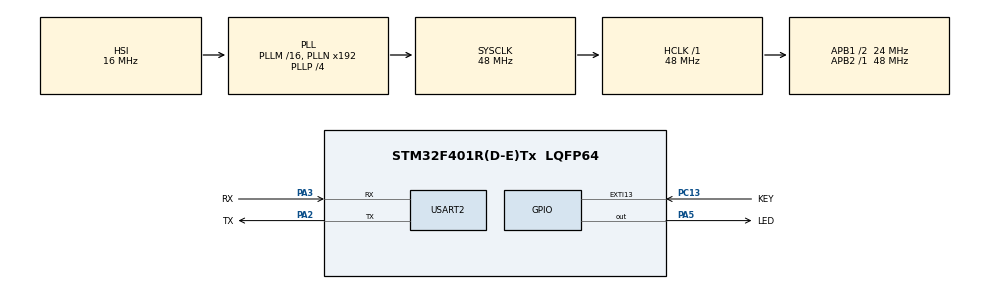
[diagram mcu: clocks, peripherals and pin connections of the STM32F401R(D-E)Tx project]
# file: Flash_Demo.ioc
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Mcu.Family=STM32F4
Mcu.Name=STM32F401R(D-E)Tx
Mcu.Package=LQFP64
NVIC.EXTI15_10_IRQn=true\:2\:0\:true\:false\:true\:true
NVIC.PriorityGroup=NVIC_PRIORITYGROUP_4
PA2.GPIO_Label=TX
PA2.Mode=Asynchronous
PA2.Signal=USART2_TX
PA3.GPIO_Label=RX
PA3.Mode=Asynchronous
PA3.Signal=USART2_RX
PA5.GPIO_Label=LED
PA5.Signal=GPIO_Output
PC13-ANTI_TAMP.GPIO_Label=KEY
PC13-ANTI_TAMP.Signal=GPXTI13
ProjectManager.HeapSize=0x200
ProjectManager.StackSize=0x400
ProjectManager.TargetToolchain=MDK-ARM V5
RCC.AHBFreq_Value=48000000
RCC.APB1CLKDivider=RCC_HCLK_DIV2
RCC.APB1Freq_Value=24000000
RCC.APB1TimFreq_Value=48000000
RCC.APB2Freq_Value=48000000
RCC.APB2TimFreq_Value=48000000
RCC.CortexFreq_Value=48000000
RCC.HCLKFreq_Value=48000000
RCC.HSE_VALUE=25000000
RCC.HSI_VALUE=16000000
RCC.LSE_VALUE=32768
RCC.PLLP=RCC_PLLP_DIV4
RCC.SYSCLKFreq_VALUE=48000000
RCC.SYSCLKSource=RCC_SYSCLKSOURCE_PLLCLK
RCC.VCOOutputFreq_Value=192000000
USART2.VirtualMode=VM_ASYNC
board=Flash_Demo

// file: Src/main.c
/**
  ******************************************************************************
  * File Name          : main.c
  * Description        : Main program body
  ******************************************************************************
  ** This notice applies to any and all portions of this file
  * that are not between comment pairs USER CODE BEGIN and
  * USER CODE END. Other portions of this file, whether
  * inserted by the user or by software development tools
  * are owned by their respective copyright owners.
  *
  * COPYRIGHT(c) 2018 STMicroelectronics
  *
  * Redistribution and use in source and binary forms, with or without modification,
  * are permitted provided that the following conditions are met:
  *   1. Redistributions of source code must retain the above copyright notice,
  *      this list of conditions and the following disclaimer.
  *   2. Redistributions in binary form must reproduce the above copyright notice,
  *      this list of conditions and the following disclaimer in the documentation
  *      and/or other materials provided with the distribution.
  *   3. Neither the name of STMicroelectronics nor the names of its contributors
  *      may be used to endorse or promote products derived from this software
  *      without specific prior written permission.
  *
  * THIS SOFTWARE IS PROVIDED BY THE COPYRIGHT HOLDERS AND CONTRIBUTORS "AS IS"
  * AND ANY EXPRESS OR IMPLIED WARRANTIES, INCLUDING, BUT NOT LIMITED TO, THE
  * IMPLIED WARRANTIES OF MERCHANTABILITY AND FITNESS FOR A PARTICULAR PURPOSE ARE
  * DISCLAIMED. IN NO EVENT SHALL THE COPYRIGHT HOLDER OR CONTRIBUTORS BE LIABLE
  * FOR ANY DIRECT, INDIRECT, INCIDENTAL, SPECIAL, EXEMPLARY, OR CONSEQUENTIAL
  * DAMAGES (INCLUDING, BUT NOT LIMITED TO, PROCUREMENT OF SUBSTITUTE GOODS OR
  * SERVICES; LOSS OF USE, DATA, OR PROFITS; OR BUSINESS INTERRUPTION) HOWEVER
  * CAUSED AND ON ANY THEORY OF LIABILITY, WHETHER IN CONTRACT, STRICT LIABILITY,
  * OR TORT (INCLUDING NEGLIGENCE OR OTHERWISE) ARISING IN ANY WAY OUT OF THE USE
  * OF THIS SOFTWARE, EVEN IF ADVISED OF THE POSSIBILITY OF SUCH DAMAGE.
  *
  ******************************************************************************
  */

#include "main.h"
#include "stm32f4xx_hal.h"
#include "usart.h"
#include "gpio.h"

/* USER CODE BEGIN PV */
/* Private variables ---------------------------------------------------------*/

/* USER CODE END PV */

void SystemClock_Config(void);

/* USER CODE BEGIN PFP */
/* Private function prototypes -----------------------------------------------*/
#define DATA_32                 ((uint32_t)0x12345678)
/* USER CODE END PFP */

/* USER CODE BEGIN 0 */
uint32_t SectorError = 0;
uint8_t Error=0;
uint32_t data32=0;
/* USER CODE END 0 */

int main(void)
{

    /* USER CODE BEGIN 1 */
    FLASH_EraseInitTypeDef EraseInitStruct;
    /* USER CODE END 1 */

    /* MCU Configuration----------------------------------------------------------*/

    /* Reset of all peripherals, Initializes the Flash interface and the Systick. */
    HAL_Init();

    /* Configure the system clock */
    SystemClock_Config();

    /* Initialize all configured peripherals */
    MX_GPIO_Init();
    MX_USART2_UART_Init();

    /* USER CODE BEGIN 2 */
    printf("This is Test for Flash\r\n");

    Error = HAL_FLASH_Unlock();
    printf("Error : 0x%02x\r\n",Error);

    EraseInitStruct.TypeErase = FLASH_TYPEERASE_SECTORS;
    EraseInitStruct.VoltageRange = FLASH_VOLTAGE_RANGE_3;
    EraseInitStruct.Sector = 2;
    EraseInitStruct.NbSectors = 2;
    HAL_FLASHEx_Erase(&EraseInitStruct, &SectorError);

		printf("SectorError : 0x%04x\r\n",SectorError);
    if (HAL_FLASH_Program(FLASH_TYPEPROGRAM_WORD, ADDR_FLASH_SECTOR_2, DATA_32) == HAL_OK)
    {
			data32 = *(__IO uint32_t*)ADDR_FLASH_SECTOR_2;
			if (data32 == DATA_32) printf("Success\r\n");
    }

		if (HAL_FLASH_Program(FLASH_TYPEPROGRAM_WORD, ADDR_FLASH_SECTOR_3, DATA_32) == HAL_OK)
    {
			data32 = *(__IO uint32_t*)ADDR_FLASH_SECTOR_3;
			if (data32 == DATA_32) printf("Success\r\n");
    }

		EraseInitStruct.TypeErase = FLASH_TYPEERASE_SECTORS;
    EraseInitStruct.VoltageRange = FLASH_VOLTAGE_RANGE_3;
    EraseInitStruct.Sector = 2;
    EraseInitStruct.NbSectors = 2;
    HAL_FLASHEx_Erase(&EraseInitStruct, &SectorError);
		printf("SectorError : 0x%04x\r\n",SectorError);

		Error = HAL_FLASH_Lock();
    printf("Error : 0x%02x\r\n",Error);

    /* USER CODE END 2 */

    /* Infinite loop */
    while (1)
    {

    }

}

/** System Clock Configuration
*/
void SystemClock_Config(void)
{

    RCC_OscInitTypeDef RCC_OscInitStruct;
    RCC_ClkInitTypeDef RCC_ClkInitStruct;

    /**Configure the main internal regulator output voltage
    */
    __HAL_RCC_PWR_CLK_ENABLE();

    __HAL_PWR_VOLTAGESCALING_CONFIG(PWR_REGULATOR_VOLTAGE_SCALE2);

    /**Initializes the CPU, AHB and APB busses clocks
    */
    RCC_OscInitStruct.OscillatorType = RCC_OSCILLATORTYPE_HSI;
    RCC_OscInitStruct.HSIState = RCC_HSI_ON;
    RCC_OscInitStruct.HSICalibrationValue = 16;
    RCC_OscInitStruct.PLL.PLLState = RCC_PLL_ON;
    RCC_OscInitStruct.PLL.PLLSource = RCC_PLLSOURCE_HSI;
    RCC_OscInitStruct.PLL.PLLM = 16;
    RCC_OscInitStruct.PLL.PLLN = 192;
    RCC_OscInitStruct.PLL.PLLP = RCC_PLLP_DIV4;
    RCC_OscInitStruct.PLL.PLLQ = 4;
    if (HAL_RCC_OscConfig(&RCC_OscInitStruct) != HAL_OK)
    {
        _Error_Handler(__FILE__, __LINE__);
    }

    /**Initializes the CPU, AHB and APB busses clocks
    */
    RCC_ClkInitStruct.ClockType = RCC_CLOCKTYPE_HCLK | RCC_CLOCKTYPE_SYSCLK
                                  | RCC_CLOCKTYPE_PCLK1 | RCC_CLOCKTYPE_PCLK2;
    RCC_ClkInitStruct.SYSCLKSource = RCC_SYSCLKSOURCE_PLLCLK;
    RCC_ClkInitStruct.AHBCLKDivider = RCC_SYSCLK_DIV1;
    RCC_ClkInitStruct.APB1CLKDivider = RCC_HCLK_DIV2;
    RCC_ClkInitStruct.APB2CLKDivider = RCC_HCLK_DIV1;

    if (HAL_RCC_ClockConfig(&RCC_ClkInitStruct, FLASH_LATENCY_1) != HAL_OK)
    {
        _Error_Handler(__FILE__, __LINE__);
    }

    /**Configure the Systick interrupt time
    */
    HAL_SYSTICK_Config(HAL_RCC_GetHCLKFreq() / 1000);

    /**Configure the Systick
    */
    HAL_SYSTICK_CLKSourceConfig(SYSTICK_CLKSOURCE_HCLK);

    /* SysTick_IRQn interrupt configuration */
    HAL_NVIC_SetPriority(SysTick_IRQn, 0, 0);
}

void _Error_Handler(char *file, int line)
{
    while(1)
    {
    }
}

/************************ (C) COPYRIGHT STMicroelectronics *****END OF FILE****/
